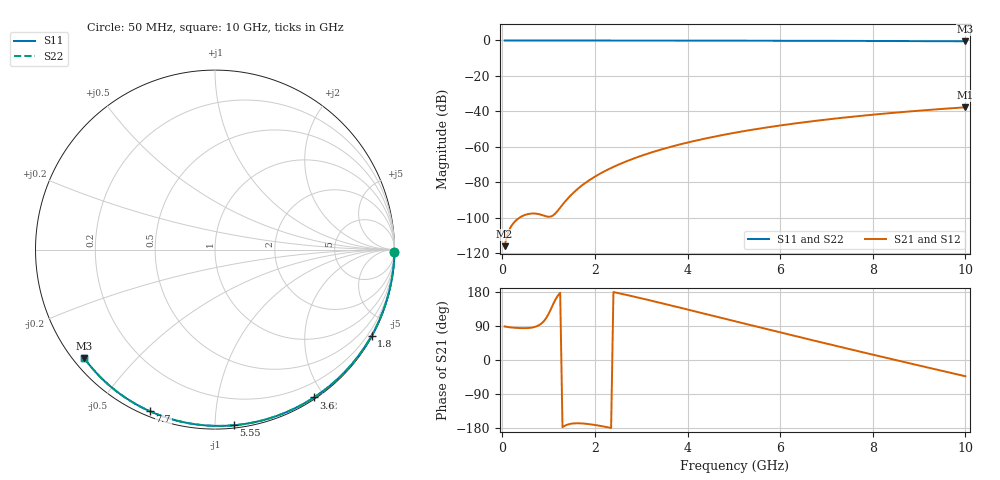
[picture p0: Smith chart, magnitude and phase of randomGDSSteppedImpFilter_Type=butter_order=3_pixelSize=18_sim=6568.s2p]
! freq	dB(S11)	phase(S11)	dB(S12)	phase(S12)
!  dB(S21)	phase(S21)	dB(S22)	phase(S22)
!S-par simulation data
#  GHz  S  DB  R 50
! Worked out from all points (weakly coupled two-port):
!   200 points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, 50 MHz to 10 GHz, reference 50 ohm
!   highest |S21| = -37.75 dB at 10 GHz (marker M1); lowest = -116.2 dB at 50 MHz (marker M2)
!   lowest |S11| = -0.5 dB at 10 GHz (marker M3), VSWR 36.60, Z = 1.54 - j18 ohm
!   |S11| at or under -10 dB: nowhere
!   |S22| runs from -0.5 to 0.0 dB; largest |S21 - S12| = 0
!   S11 on the Smith chart (normalised r, x): 50 MHz: open; 1.8 GHz: 0.03, -3.90; 3.6 GHz: 0.02, -1.87; 5.55 GHz: 0.02, -1.11; 7.7 GHz: 0.02, -0.68; 10 GHz: 0.03, -0.36
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0.05  -0.00 -0.8  -116.19 88.6  -116.19 88.6  -0.00 -0.8
0.45  -0.01 -7.3  -98.97 84.0  -98.97 84.0  -0.01 -7.3
0.9  -0.02 -14.5  -98.95 102.8  -98.95 102.8  -0.02 -14.5
1.75  -0.04 -28.0  -81.30 -167.6  -81.30 -167.6  -0.04 -28.0
1.8  -0.04 -28.8  -80.35 -168.2  -80.35 -168.2  -0.04 -28.8
1.85  -0.04 -29.6  -79.44 -168.9  -79.44 -168.9  -0.04 -29.6
2  -0.04 -31.9  -76.93 -171.4  -76.93 -171.4  -0.04 -31.9
2.15  -0.04 -34.2  -74.68 -174.6  -74.68 -174.6  -0.04 -34.2
2.35  -0.05 -37.3  -72.02 -179.4  -72.02 -179.4  -0.05 -37.3
2.55  -0.05 -40.4  -69.67 175.4  -69.67 175.4  -0.05 -40.4
2.95  -0.06 -46.5  -65.62 164.3  -65.62 164.3  -0.06 -46.5
3.4  -0.07 -53.2  -61.83 151.1  -61.83 151.1  -0.07 -53.2
3.6  -0.08 -56.2  -60.34 145.2  -60.34 145.2  -0.08 -56.2
4.3  -0.09 -66.4  -55.86 124.2  -55.86 124.2  -0.09 -66.4
5.05  -0.12 -76.9  -51.98 101.5  -51.98 101.5  -0.12 -76.9
5.55  -0.14 -83.8  -49.79 86.5  -49.79 86.5  -0.14 -83.8
6.1  -0.16 -91.2  -47.65 70.0  -47.65 70.0  -0.16 -91.2
6.7  -0.19 -99.1  -45.60 52.1  -45.60 52.1  -0.19 -99.1
7.7  -0.26 -111.9  -42.70 22.8  -42.70 22.8  -0.26 -111.9
8.35  -0.31 -120.0  -41.09 4.0  -41.09 4.0  -0.31 -120.0
9.2  -0.39 -130.5  -39.25 -20.2  -39.25 -20.2  -0.39 -130.5
10  -0.47 -140.4  -37.75 -42.9  -37.75 -42.9  -0.47 -140.4
